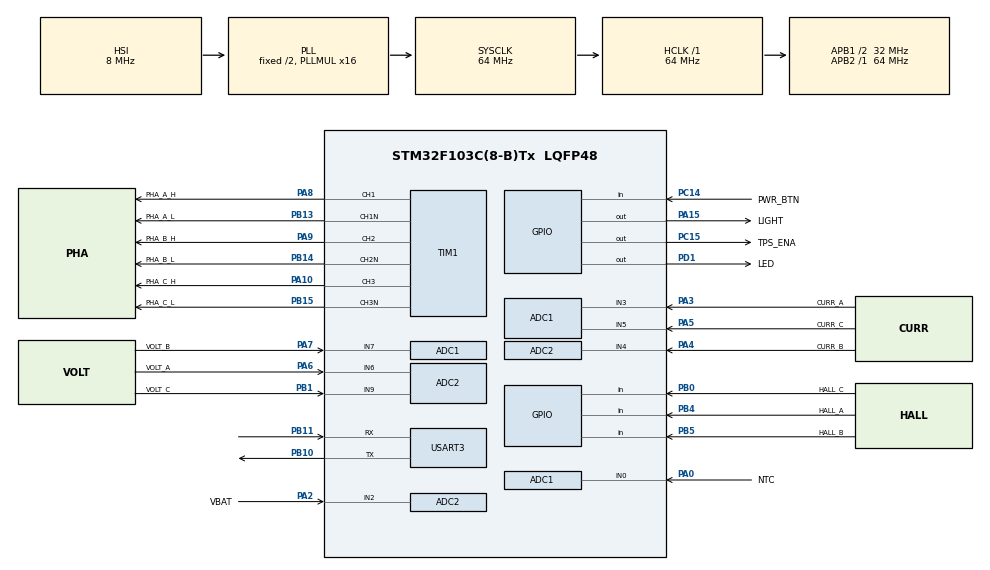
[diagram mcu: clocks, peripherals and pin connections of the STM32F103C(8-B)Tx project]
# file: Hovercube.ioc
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ADC1.Channel-10\#ChannelRegularConversion=ADC_CHANNEL_3
ADC1.Channel-11\#ChannelRegularConversion=ADC_CHANNEL_5
ADC1.Channel-12\#ChannelRegularConversion=ADC_CHANNEL_7
ADC1.Channel-13\#ChannelRegularConversion=ADC_CHANNEL_0
ADC1.ContinuousConvMode=DISABLE
ADC1.DiscontinuousConvMode=DISABLE
ADC1.EnableAnalogWatchDog=false
ADC1.EnableInjectedConversion=DISABLE
ADC1.EnableRegularConversion=ENABLE
ADC1.ExternalTrigConv=ADC_EXTERNALTRIGCONV_T3_TRGO
ADC1.ExternalTrigInjecConv=ADC_EXTERNALTRIGINJECCONV_T1_TRGO
ADC1.InjNumberOfConversion=4
ADC1.InjectedConvMode=Discontinuous
ADC1.Mode=ADC_DUALMODE_REGSIMULT
ADC1.NbrOfConversion=4
ADC1.NbrOfConversionFlag=1
ADC1.Rank-10\#ChannelRegularConversion=1
ADC1.Rank-11\#ChannelRegularConversion=2
ADC1.Rank-12\#ChannelRegularConversion=3
ADC1.Rank-13\#ChannelRegularConversion=4
ADC1.SamplingTime-10\#ChannelRegularConversion=ADC_SAMPLETIME_1CYCLE_5
ADC1.SamplingTime-11\#ChannelRegularConversion=ADC_SAMPLETIME_1CYCLE_5
ADC1.SamplingTime-12\#ChannelRegularConversion=ADC_SAMPLETIME_1CYCLE_5
ADC1.SamplingTime-13\#ChannelRegularConversion=ADC_SAMPLETIME_1CYCLE_5
ADC1.master=1
ADC2.Channel-6\#ChannelRegularConversion=ADC_CHANNEL_4
ADC2.Channel-7\#ChannelRegularConversion=ADC_CHANNEL_6
ADC2.Channel-8\#ChannelRegularConversion=ADC_CHANNEL_9
ADC2.Channel-9\#ChannelRegularConversion=ADC_CHANNEL_2
ADC2.EnableAnalogWatchDog=false
ADC2.EnableInjectedConversion=DISABLE
ADC2.EnableRegularConversion=ENABLE
ADC2.InjNumberOfConversion=4
ADC2.InjectedConvMode=Discontinuous
ADC2.Mode=ADC_DUALMODE_REGSIMULT
ADC2.NbrOfConversion=4
ADC2.NbrOfConversionFlag=1
ADC2.Rank-6\#ChannelRegularConversion=1
ADC2.Rank-7\#ChannelRegularConversion=2
ADC2.Rank-8\#ChannelRegularConversion=3
ADC2.Rank-9\#ChannelRegularConversion=4
ADC2.SamplingTime-6\#ChannelRegularConversion=ADC_SAMPLETIME_1CYCLE_5
ADC2.SamplingTime-7\#ChannelRegularConversion=ADC_SAMPLETIME_1CYCLE_5
ADC2.SamplingTime-8\#ChannelRegularConversion=ADC_SAMPLETIME_1CYCLE_5
ADC2.SamplingTime-9\#ChannelRegularConversion=ADC_SAMPLETIME_1CYCLE_5
Dma.ADC1.2.Direction=DMA_PERIPH_TO_MEMORY
Dma.ADC1.2.Instance=DMA1_Channel1
Dma.ADC1.2.MemDataAlignment=DMA_MDATAALIGN_HALFWORD
Dma.ADC1.2.MemInc=DMA_MINC_ENABLE
Dma.ADC1.2.Mode=DMA_NORMAL
Dma.ADC1.2.PeriphDataAlignment=DMA_PDATAALIGN_HALFWORD
Dma.ADC1.2.PeriphInc=DMA_PINC_DISABLE
Dma.ADC1.2.Priority=DMA_PRIORITY_LOW
Dma.Request0=USART3_RX
Dma.Request1=USART3_TX
Dma.Request2=ADC1
Dma.USART3_RX.0.Direction=DMA_PERIPH_TO_MEMORY
Dma.USART3_RX.0.Instance=DMA1_Channel3
Dma.USART3_RX.0.MemDataAlignment=DMA_MDATAALIGN_BYTE
Dma.USART3_RX.0.MemInc=DMA_MINC_ENABLE
Dma.USART3_RX.0.Mode=DMA_CIRCULAR
Dma.USART3_RX.0.PeriphDataAlignment=DMA_PDATAALIGN_BYTE
Dma.USART3_RX.0.PeriphInc=DMA_PINC_DISABLE
Dma.USART3_RX.0.Priority=DMA_PRIORITY_LOW
Dma.USART3_TX.1.Direction=DMA_MEMORY_TO_PERIPH
Dma.USART3_TX.1.Instance=DMA1_Channel2
Dma.USART3_TX.1.MemDataAlignment=DMA_MDATAALIGN_BYTE
Dma.USART3_TX.1.MemInc=DMA_MINC_ENABLE
Dma.USART3_TX.1.Mode=DMA_NORMAL
Dma.USART3_TX.1.PeriphDataAlignment=DMA_PDATAALIGN_BYTE
Dma.USART3_TX.1.PeriphInc=DMA_PINC_DISABLE
Dma.USART3_TX.1.Priority=DMA_PRIORITY_LOW
FREERTOS.INCLUDE_uxTaskPriorityGet=0
FREERTOS.INCLUDE_vTaskDelete=0
FREERTOS.INCLUDE_vTaskPrioritySet=0
FREERTOS.INCLUDE_vTaskSuspend=0
FREERTOS.Tasks01=defaultTask,24,128,StartDefaultTask,Default,NULL,Dynamic,NULL,NULL
FREERTOS.configTOTAL_HEAP_SIZE=12000
FREERTOS.configUSE_TRACE_FACILITY=0
Mcu.Family=STM32F1
Mcu.Name=STM32F103C(8-B)Tx
Mcu.Package=LQFP48
NVIC.ADC1_2_IRQn=true\:5\:0\:false\:false\:true\:true\:true\:true
NVIC.DMA1_Channel1_IRQn=true\:5\:0\:false\:false\:false\:true\:false\:false
NVIC.DMA1_Channel2_IRQn=true\:5\:0\:false\:false\:true\:true\:false\:true
NVIC.DMA1_Channel3_IRQn=true\:5\:0\:false\:false\:true\:true\:false\:true
NVIC.PriorityGroup=NVIC_PRIORITYGROUP_4
NVIC.TIM4_IRQn=true\:0\:0\:false\:false\:true\:false\:false\:true
NVIC.TimeBase=TIM4_IRQn
NVIC.TimeBaseIP=TIM4
NVIC.USART3_IRQn=true\:5\:0\:false\:false\:true\:true\:true\:true
PA0-WKUP.GPIO_Label=NTC
PA0-WKUP.Signal=ADCx_IN0
PA10.GPIO_Label=PHA_C_H
PA10.Signal=S_TIM1_CH3
PA13.Mode=Serial_Wire
PA13.Signal=SYS_JTMS-SWDIO
PA14.Mode=Serial_Wire
PA14.Signal=SYS_JTCK-SWCLK
PA15.GPIO_Label=LIGHT
PA15.Signal=GPIO_Output
PA2.GPIO_Label=VBAT
PA2.Signal=ADCx_IN2
PA3.GPIO_Label=CURR_A
PA3.Signal=ADCx_IN3
PA4.GPIO_Label=CURR_B
PA4.Signal=ADCx_IN4
PA5.GPIO_Label=CURR_C
PA5.Signal=ADCx_IN5
PA6.GPIO_Label=VOLT_A
PA6.Signal=ADCx_IN6
PA7.GPIO_Label=VOLT_B
PA7.Signal=ADCx_IN7
PA8.GPIO_Label=PHA_A_H
PA8.Signal=S_TIM1_CH1
PA9.GPIO_Label=PHA_B_H
PA9.Signal=S_TIM1_CH2
PB0.GPIO_Label=HALL_C
PB0.Signal=GPIO_Input
PB1.GPIO_Label=VOLT_C
PB1.Signal=ADCx_IN9
PB10.Mode=Asynchronous
PB10.Signal=USART3_TX
PB11.Mode=Asynchronous
PB11.Signal=USART3_RX
PB13.GPIO_Label=PHA_A_L
PB13.Mode=PWM Generation1 CH1 CH1N
PB13.Signal=TIM1_CH1N
PB14.GPIO_Label=PHA_B_L
PB14.Mode=PWM Generation2 CH2 CH2N
PB14.Signal=TIM1_CH2N
PB15.GPIO_Label=PHA_C_L
PB15.Mode=PWM Generation3 CH3 CH3N
PB15.Signal=TIM1_CH3N
PB4.GPIO_Label=HALL_A
PB4.Signal=GPIO_Input
PB5.GPIO_Label=HALL_B
PB5.Signal=GPIO_Input
PB6.Signal=USART1_TX
PC14-OSC32_IN.GPIO_Label=PWR_BTN
PC14-OSC32_IN.Signal=GPIO_Input
PC15-OSC32_OUT.GPIO_Label=TPS_ENA
PC15-OSC32_OUT.PinState=GPIO_PIN_SET
PC15-OSC32_OUT.Signal=GPIO_Output
PD1-OSC_OUT.GPIO_Label=LED
PD1-OSC_OUT.Signal=GPIO_Output
ProjectManager.HeapSize=0x200
ProjectManager.StackSize=0x400
ProjectManager.TargetToolchain=STM32CubeIDE
RCC.ADCPresc=RCC_ADCPCLK2_DIV6
RCC.AHBFreq_Value=64000000
RCC.APB1CLKDivider=RCC_HCLK_DIV2
RCC.APB1Freq_Value=32000000
RCC.APB1TimFreq_Value=64000000
RCC.APB2Freq_Value=64000000
RCC.APB2TimFreq_Value=64000000
RCC.HCLKFreq_Value=64000000
RCC.PLLMUL=RCC_PLL_MUL16
RCC.SYSCLKFreq_VALUE=64000000
RCC.SYSCLKSource=RCC_SYSCLKSOURCE_PLLCLK
RCC.USBFreq_Value=64000000
SH.ADCx_IN0.0=ADC1_IN0,IN0
SH.ADCx_IN2.0=ADC1_IN2
SH.ADCx_IN2.1=ADC2_IN2,IN2
SH.ADCx_IN3.0=ADC1_IN3,IN3
SH.ADCx_IN3.1=ADC2_IN3
SH.ADCx_IN4.0=ADC1_IN4
SH.ADCx_IN4.1=ADC2_IN4,IN4
SH.ADCx_IN5.0=ADC1_IN5,IN5
SH.ADCx_IN6.0=ADC2_IN6,IN6
SH.ADCx_IN7.0=ADC2_IN7
SH.ADCx_IN7.1=ADC1_IN7,IN7
SH.ADCx_IN9.0=ADC2_IN9,IN9
SH.S_TIM1_CH1.0=TIM1_CH1,PWM Generation1 CH1 CH1N
SH.S_TIM1_CH2.0=TIM1_CH2,PWM Generation2 CH2 CH2N
SH.S_TIM1_CH3.0=TIM1_CH3,PWM Generation3 CH3 CH3N
TIM1.Channel-PWM\ Generation1\ CH1\ CH1N=TIM_CHANNEL_1
TIM1.Channel-PWM\ Generation2\ CH2\ CH2N=TIM_CHANNEL_2
TIM1.Channel-PWM\ Generation3\ CH3\ CH3N=TIM_CHANNEL_3
TIM1.CounterMode=TIM_COUNTERMODE_CENTERALIGNED1
TIM1.DeadTime=DEAD_TIME
TIM1.OCIdleState_1=TIM_OCIDLESTATE_SET
TIM1.OCIdleState_2=TIM_OCIDLESTATE_SET
TIM1.OCIdleState_3=TIM_OCIDLESTATE_SET
TIM1.OCNIdleState_1=TIM_OCNIDLESTATE_SET
TIM1.OCNIdleState_2=TIM_OCNIDLESTATE_SET
TIM1.OCNIdleState_3=TIM_OCNIDLESTATE_SET
TIM1.OCNPolarity_1=TIM_OCNPOLARITY_HIGH
TIM1.OCNPolarity_2=TIM_OCNPOLARITY_HIGH
TIM1.OCNPolarity_3=TIM_OCNPOLARITY_HIGH
TIM1.OffStateIDLEMode=TIM_OSSI_ENABLE
TIM1.OffStateRunMode=TIM_OSSR_ENABLE
TIM1.Period=64000000 / 2 / PWM_FREQ
TIM1.TIM_MasterOutputTrigger=TIM_TRGO_ENABLE
TIM1.TIM_MasterSlaveMode=TIM_MASTERSLAVEMODE_DISABLE
TIM3.Period=64000000 / 2 / PWM_FREQ
TIM3.TIM_MasterOutputTrigger=TIM_TRGO_UPDATE
TIM3.TIM_MasterSlaveMode=TIM_MASTERSLAVEMODE_ENABLE
USART3.VirtualMode=VM_ASYNC
VP_FREERTOS_VS_CMSIS_V2.Mode=CMSIS_V2
VP_SYS_VS_tim4.Mode=TIM4
VP_TIM1_VS_ClockSourceINT.Mode=Internal
VP_TIM3_VS_ClockSourceINT.Mode=Internal
VP_TIM3_VS_ClockSourceITR.Mode=TriggerSource_ITR0
VP_TIM3_VS_ControllerModeGated.Mode=Gated Mode
board=custom

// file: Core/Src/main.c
/* USER CODE BEGIN Header */
/**
  ******************************************************************************
  * @file           : main.c
  * @brief          : Main program body
  ******************************************************************************
  * @attention
  *
  * <h2><center>&copy; Copyright (c) 2020 STMicroelectronics.
  * All rights reserved.</center></h2>
  *
  * This software component is licensed by ST under BSD 3-Clause license,
  * the "License"; You may not use this file except in compliance with the
  * License. You may obtain a copy of the License at:
  *                        opensource.org/licenses/BSD-3-Clause
  *
  ******************************************************************************
  */
/* USER CODE END Header */

#include "main.h"
#include "cmsis_os.h"

/* USER CODE BEGIN Includes */
#include "tasks/tsk_cli.h"
#include "tasks/tsk_uart.h"
#include "defines.h"
#include "config.h"
#include "cli_common.h"
#include "util.h"
#include "BLDC_controller.h"
#include "rtwtypes.h"
#include "config.h"

/* USER CODE END Includes */

/* USER CODE BEGIN PM */

volatile adc_buf_t adc_buffer;

/* USER CODE END PM */

ADC_HandleTypeDef hadc1;
ADC_HandleTypeDef hadc2;
DMA_HandleTypeDef hdma_adc1;

TIM_HandleTypeDef htim1;
TIM_HandleTypeDef htim3;

UART_HandleTypeDef huart3;
DMA_HandleTypeDef hdma_usart3_rx;
DMA_HandleTypeDef hdma_usart3_tx;

/* Definitions for defaultTask */
osThreadId_t defaultTaskHandle;
const osThreadAttr_t defaultTask_attributes = {
  .name = "defaultTask",
  .priority = (osPriority_t) osPriorityNormal,
  .stack_size = 128 * 4
};

void SystemClock_Config(void);
static void MX_GPIO_Init(void);
static void MX_DMA_Init(void);
static void MX_ADC1_Init(void);
static void MX_ADC2_Init(void);
static void MX_TIM1_Init(void);
static void MX_USART3_UART_Init(void);
static void MX_TIM3_Init(void);
void StartDefaultTask(void *argument);

int main(void)
{

  /* MCU Configuration--------------------------------------------------------*/

  /* Reset of all peripherals, Initializes the Flash interface and the Systick. */
  HAL_Init();

  /* Configure the system clock */
  SystemClock_Config();

  /* Initialize all configured peripherals */
  MX_GPIO_Init();
  MX_DMA_Init();
  MX_ADC1_Init();
  MX_ADC2_Init();
  MX_TIM1_Init();
  MX_USART3_UART_Init();
  MX_TIM3_Init();
  /* USER CODE BEGIN 2 */

  DBGMCU->CR |= DBGMCU_CR_DBG_TIM1_STOP;

  /* USER CODE END 2 */

  /* Init scheduler */
  osKernelInitialize();

  /* USER CODE BEGIN RTOS_MUTEX */
  /* add mutexes, ... */
  HAL_GPIO_WritePin(TPS_ENA_GPIO_Port, TPS_ENA_Pin, pdTRUE);
  /* USER CODE END RTOS_MUTEX */

  /* Create the thread(s) */
  /* creation of defaultTask */
  defaultTaskHandle = osThreadNew(StartDefaultTask, NULL, &defaultTask_attributes);

  /* USER CODE BEGIN RTOS_THREADS */
  /* add threads, ... */

  HAL_GPIO_WritePin(TPS_ENA_GPIO_Port, TPS_ENA_Pin, pdTRUE);

  tsk_cli_Start(&huart3);

  HAL_ADC_Start(&hadc1);
  HAL_ADC_Start(&hadc2);

  HAL_TIM_PWM_Start(&htim1, TIM_CHANNEL_1);
  HAL_TIM_PWM_Start(&htim1, TIM_CHANNEL_2);
  HAL_TIM_PWM_Start(&htim1, TIM_CHANNEL_3);

  HAL_TIMEx_PWMN_Start(&htim1, TIM_CHANNEL_1);
  HAL_TIMEx_PWMN_Start(&htim1, TIM_CHANNEL_2);
  HAL_TIMEx_PWMN_Start(&htim1, TIM_CHANNEL_3);

  htim1.Instance->RCR = 1;

  __HAL_TIM_ENABLE(&htim1);

  htim3.Instance->RCR = 1;

  __HAL_TIM_ENABLE(&htim3);

  hadc1.Instance->CR2 |= ADC_CR2_DMA | ADC_CR2_TSVREFE;
  __HAL_ADC_ENABLE(&hadc1);

  hadc2.Instance->CR2 |= ADC_CR2_DMA;
  __HAL_ADC_ENABLE(&hadc2);

  __HAL_RCC_DMA1_CLK_ENABLE();

  DMA1_Channel1->CCR   = 0;
  DMA1_Channel1->CNDTR = 4;
  DMA1_Channel1->CPAR  = (uint32_t) & (ADC1->DR);
  DMA1_Channel1->CMAR  = (uint32_t)&adc_buffer;
  DMA1_Channel1->CCR   = DMA_CCR_MSIZE_1 | DMA_CCR_PSIZE_1 | DMA_CCR_MINC | DMA_CCR_CIRC | DMA_CCR_TCIE;
  DMA1_Channel1->CCR |= DMA_CCR_EN;

  HAL_NVIC_SetPriority(DMA1_Channel1_IRQn, 0, 0);
  HAL_NVIC_EnableIRQ(DMA1_Channel1_IRQn);

  /* USER CODE END RTOS_THREADS */

  /* Start scheduler */
  osKernelStart();

  /* We should never get here as control is now taken by the scheduler */
  /* Infinite loop */
  while (1)
  {

  }
}

void SystemClock_Config(void)
{
  RCC_OscInitTypeDef RCC_OscInitStruct = {0};
  RCC_ClkInitTypeDef RCC_ClkInitStruct = {0};
  RCC_PeriphCLKInitTypeDef PeriphClkInit = {0};

  /** Initializes the CPU, AHB and APB busses clocks
  */
  RCC_OscInitStruct.OscillatorType = RCC_OSCILLATORTYPE_HSI;
  RCC_OscInitStruct.HSIState = RCC_HSI_ON;
  RCC_OscInitStruct.HSICalibrationValue = RCC_HSICALIBRATION_DEFAULT;
  RCC_OscInitStruct.PLL.PLLState = RCC_PLL_ON;
  RCC_OscInitStruct.PLL.PLLSource = RCC_PLLSOURCE_HSI_DIV2;
  RCC_OscInitStruct.PLL.PLLMUL = RCC_PLL_MUL16;
  if (HAL_RCC_OscConfig(&RCC_OscInitStruct) != HAL_OK)
  {
    Error_Handler();
  }
  /** Initializes the CPU, AHB and APB busses clocks
  */
  RCC_ClkInitStruct.ClockType = RCC_CLOCKTYPE_HCLK|RCC_CLOCKTYPE_SYSCLK
                              |RCC_CLOCKTYPE_PCLK1|RCC_CLOCKTYPE_PCLK2;
  RCC_ClkInitStruct.SYSCLKSource = RCC_SYSCLKSOURCE_PLLCLK;
  RCC_ClkInitStruct.AHBCLKDivider = RCC_SYSCLK_DIV1;
  RCC_ClkInitStruct.APB1CLKDivider = RCC_HCLK_DIV2;
  RCC_ClkInitStruct.APB2CLKDivider = RCC_HCLK_DIV1;

  if (HAL_RCC_ClockConfig(&RCC_ClkInitStruct, FLASH_LATENCY_2) != HAL_OK)
  {
    Error_Handler();
  }
  PeriphClkInit.PeriphClockSelection = RCC_PERIPHCLK_ADC;
  PeriphClkInit.AdcClockSelection = RCC_ADCPCLK2_DIV6;
  if (HAL_RCCEx_PeriphCLKConfig(&PeriphClkInit) != HAL_OK)
  {
    Error_Handler();
  }
}

static void MX_ADC1_Init(void)
{

  ADC_MultiModeTypeDef multimode = {0};
  ADC_ChannelConfTypeDef sConfig = {0};

  /** Common config
  */
  hadc1.Instance = ADC1;
  hadc1.Init.ScanConvMode = ADC_SCAN_ENABLE;
  hadc1.Init.ContinuousConvMode = DISABLE;
  hadc1.Init.DiscontinuousConvMode = DISABLE;
  hadc1.Init.ExternalTrigConv = ADC_EXTERNALTRIGCONV_T3_TRGO;
  hadc1.Init.DataAlign = ADC_DATAALIGN_RIGHT;
  hadc1.Init.NbrOfConversion = 4;
  if (HAL_ADC_Init(&hadc1) != HAL_OK)
  {
    Error_Handler();
  }
  /** Configure the ADC multi-mode
  */
  multimode.Mode = ADC_DUALMODE_REGSIMULT;
  if (HAL_ADCEx_MultiModeConfigChannel(&hadc1, &multimode) != HAL_OK)
  {
    Error_Handler();
  }
  /** Configure Regular Channel
  */
  sConfig.Channel = ADC_CHANNEL_3;
  sConfig.Rank = ADC_REGULAR_RANK_1;
  sConfig.SamplingTime = ADC_SAMPLETIME_1CYCLE_5;
  if (HAL_ADC_ConfigChannel(&hadc1, &sConfig) != HAL_OK)
  {
    Error_Handler();
  }
  /** Configure Regular Channel
  */
  sConfig.Channel = ADC_CHANNEL_5;
  sConfig.Rank = ADC_REGULAR_RANK_2;
  if (HAL_ADC_ConfigChannel(&hadc1, &sConfig) != HAL_OK)
  {
    Error_Handler();
  }
  /** Configure Regular Channel
  */
  sConfig.Channel = ADC_CHANNEL_7;
  sConfig.Rank = ADC_REGULAR_RANK_3;
  if (HAL_ADC_ConfigChannel(&hadc1, &sConfig) != HAL_OK)
  {
    Error_Handler();
  }
  /** Configure Regular Channel
  */
  sConfig.Channel = ADC_CHANNEL_0;
  sConfig.Rank = ADC_REGULAR_RANK_4;
  if (HAL_ADC_ConfigChannel(&hadc1, &sConfig) != HAL_OK)
  {
    Error_Handler();
  }

}

static void MX_ADC2_Init(void)
{

  ADC_ChannelConfTypeDef sConfig = {0};

  /** Common config
  */
  hadc2.Instance = ADC2;
  hadc2.Init.ScanConvMode = ADC_SCAN_ENABLE;
  hadc2.Init.ContinuousConvMode = DISABLE;
  hadc2.Init.DiscontinuousConvMode = DISABLE;
  hadc2.Init.ExternalTrigConv = ADC_SOFTWARE_START;
  hadc2.Init.DataAlign = ADC_DATAALIGN_RIGHT;
  hadc2.Init.NbrOfConversion = 4;
  if (HAL_ADC_Init(&hadc2) != HAL_OK)
  {
    Error_Handler();
  }
  /** Configure Regular Channel
  */
  sConfig.Channel = ADC_CHANNEL_4;
  sConfig.Rank = ADC_REGULAR_RANK_1;
  sConfig.SamplingTime = ADC_SAMPLETIME_1CYCLE_5;
  if (HAL_ADC_ConfigChannel(&hadc2, &sConfig) != HAL_OK)
  {
    Error_Handler();
  }
  /** Configure Regular Channel
  */
  sConfig.Channel = ADC_CHANNEL_6;
  sConfig.Rank = ADC_REGULAR_RANK_2;
  if (HAL_ADC_ConfigChannel(&hadc2, &sConfig) != HAL_OK)
  {
    Error_Handler();
  }
  /** Configure Regular Channel
  */
  sConfig.Channel = ADC_CHANNEL_9;
  sConfig.Rank = ADC_REGULAR_RANK_3;
  if (HAL_ADC_ConfigChannel(&hadc2, &sConfig) != HAL_OK)
  {
    Error_Handler();
  }
  /** Configure Regular Channel
  */
  sConfig.Channel = ADC_CHANNEL_2;
  sConfig.Rank = ADC_REGULAR_RANK_4;
  if (HAL_ADC_ConfigChannel(&hadc2, &sConfig) != HAL_OK)
  {
    Error_Handler();
  }

}

static void MX_TIM1_Init(void)
{

  TIM_ClockConfigTypeDef sClockSourceConfig = {0};
  TIM_MasterConfigTypeDef sMasterConfig = {0};
  TIM_OC_InitTypeDef sConfigOC = {0};
  TIM_BreakDeadTimeConfigTypeDef sBreakDeadTimeConfig = {0};

  htim1.Instance = TIM1;
  htim1.Init.Prescaler = 0;
  htim1.Init.CounterMode = TIM_COUNTERMODE_CENTERALIGNED1;
  htim1.Init.Period = 64000000 / 2 / PWM_FREQ;
  htim1.Init.ClockDivision = TIM_CLOCKDIVISION_DIV1;
  htim1.Init.RepetitionCounter = 0;
  htim1.Init.AutoReloadPreload = TIM_AUTORELOAD_PRELOAD_DISABLE;
  if (HAL_TIM_Base_Init(&htim1) != HAL_OK)
  {
    Error_Handler();
  }
  sClockSourceConfig.ClockSource = TIM_CLOCKSOURCE_INTERNAL;
  if (HAL_TIM_ConfigClockSource(&htim1, &sClockSourceConfig) != HAL_OK)
  {
    Error_Handler();
  }
  if (HAL_TIM_PWM_Init(&htim1) != HAL_OK)
  {
    Error_Handler();
  }
  sMasterConfig.MasterOutputTrigger = TIM_TRGO_ENABLE;
  sMasterConfig.MasterSlaveMode = TIM_MASTERSLAVEMODE_DISABLE;
  if (HAL_TIMEx_MasterConfigSynchronization(&htim1, &sMasterConfig) != HAL_OK)
  {
    Error_Handler();
  }
  sConfigOC.OCMode = TIM_OCMODE_PWM1;
  sConfigOC.Pulse = 0;
  sConfigOC.OCPolarity = TIM_OCPOLARITY_HIGH;
  sConfigOC.OCNPolarity = TIM_OCNPOLARITY_HIGH;
  sConfigOC.OCFastMode = TIM_OCFAST_DISABLE;
  sConfigOC.OCIdleState = TIM_OCIDLESTATE_SET;
  sConfigOC.OCNIdleState = TIM_OCNIDLESTATE_SET;
  if (HAL_TIM_PWM_ConfigChannel(&htim1, &sConfigOC, TIM_CHANNEL_1) != HAL_OK)
  {
    Error_Handler();
  }
  if (HAL_TIM_PWM_ConfigChannel(&htim1, &sConfigOC, TIM_CHANNEL_2) != HAL_OK)
  {
    Error_Handler();
  }
  if (HAL_TIM_PWM_ConfigChannel(&htim1, &sConfigOC, TIM_CHANNEL_3) != HAL_OK)
  {
    Error_Handler();
  }
  sBreakDeadTimeConfig.OffStateRunMode = TIM_OSSR_ENABLE;
  sBreakDeadTimeConfig.OffStateIDLEMode = TIM_OSSI_ENABLE;
  sBreakDeadTimeConfig.LockLevel = TIM_LOCKLEVEL_OFF;
  sBreakDeadTimeConfig.DeadTime = DEAD_TIME;
  sBreakDeadTimeConfig.BreakState = TIM_BREAK_DISABLE;
  sBreakDeadTimeConfig.BreakPolarity = TIM_BREAKPOLARITY_HIGH;
  sBreakDeadTimeConfig.AutomaticOutput = TIM_AUTOMATICOUTPUT_DISABLE;
  if (HAL_TIMEx_ConfigBreakDeadTime(&htim1, &sBreakDeadTimeConfig) != HAL_OK)
  {
    Error_Handler();
  }
  HAL_TIM_MspPostInit(&htim1);

}

static void MX_TIM3_Init(void)
{

  TIM_ClockConfigTypeDef sClockSourceConfig = {0};
  TIM_SlaveConfigTypeDef sSlaveConfig = {0};
  TIM_MasterConfigTypeDef sMasterConfig = {0};

  htim3.Instance = TIM3;
  htim3.Init.Prescaler = 0;
  htim3.Init.CounterMode = TIM_COUNTERMODE_UP;
  htim3.Init.Period = 64000000 / 2 / PWM_FREQ;
  htim3.Init.ClockDivision = TIM_CLOCKDIVISION_DIV1;
  htim3.Init.AutoReloadPreload = TIM_AUTORELOAD_PRELOAD_DISABLE;
  if (HAL_TIM_Base_Init(&htim3) != HAL_OK)
  {
    Error_Handler();
  }
  sClockSourceConfig.ClockSource = TIM_CLOCKSOURCE_INTERNAL;
  if (HAL_TIM_ConfigClockSource(&htim3, &sClockSourceConfig) != HAL_OK)
  {
    Error_Handler();
  }
  sSlaveConfig.SlaveMode = TIM_SLAVEMODE_GATED;
  sSlaveConfig.InputTrigger = TIM_TS_ITR0;
  if (HAL_TIM_SlaveConfigSynchro(&htim3, &sSlaveConfig) != HAL_OK)
  {
    Error_Handler();
  }
  sMasterConfig.MasterOutputTrigger = TIM_TRGO_UPDATE;
  sMasterConfig.MasterSlaveMode = TIM_MASTERSLAVEMODE_ENABLE;
  if (HAL_TIMEx_MasterConfigSynchronization(&htim3, &sMasterConfig) != HAL_OK)
  {
    Error_Handler();
  }

}

static void MX_USART3_UART_Init(void)
{

  huart3.Instance = USART3;
  huart3.Init.BaudRate = 115200;
  huart3.Init.WordLength = UART_WORDLENGTH_8B;
  huart3.Init.StopBits = UART_STOPBITS_1;
  huart3.Init.Parity = UART_PARITY_NONE;
  huart3.Init.Mode = UART_MODE_TX_RX;
  huart3.Init.HwFlowCtl = UART_HWCONTROL_NONE;
  huart3.Init.OverSampling = UART_OVERSAMPLING_16;
  if (HAL_UART_Init(&huart3) != HAL_OK)
  {
    Error_Handler();
  }

}

static void MX_DMA_Init(void)
{

  /* DMA controller clock enable */
  __HAL_RCC_DMA1_CLK_ENABLE();

  /* DMA interrupt init */
  /* DMA1_Channel1_IRQn interrupt configuration */
  HAL_NVIC_SetPriority(DMA1_Channel1_IRQn, 5, 0);
  HAL_NVIC_EnableIRQ(DMA1_Channel1_IRQn);
  /* DMA1_Channel2_IRQn interrupt configuration */
  HAL_NVIC_SetPriority(DMA1_Channel2_IRQn, 5, 0);
  HAL_NVIC_EnableIRQ(DMA1_Channel2_IRQn);
  /* DMA1_Channel3_IRQn interrupt configuration */
  HAL_NVIC_SetPriority(DMA1_Channel3_IRQn, 5, 0);
  HAL_NVIC_EnableIRQ(DMA1_Channel3_IRQn);

}

static void MX_GPIO_Init(void)
{
  GPIO_InitTypeDef GPIO_InitStruct = {0};

  /* GPIO Ports Clock Enable */
  __HAL_RCC_GPIOC_CLK_ENABLE();
  __HAL_RCC_GPIOD_CLK_ENABLE();
  __HAL_RCC_GPIOA_CLK_ENABLE();
  __HAL_RCC_GPIOB_CLK_ENABLE();

  /*Configure GPIO pin Output Level */
  HAL_GPIO_WritePin(TPS_ENA_GPIO_Port, TPS_ENA_Pin, GPIO_PIN_SET);

  /*Configure GPIO pin Output Level */
  HAL_GPIO_WritePin(LED_GPIO_Port, LED_Pin, GPIO_PIN_RESET);

  /*Configure GPIO pin Output Level */
  HAL_GPIO_WritePin(LIGHT_GPIO_Port, LIGHT_Pin, GPIO_PIN_RESET);

  /*Configure GPIO pin : PWR_BTN_Pin */
  GPIO_InitStruct.Pin = PWR_BTN_Pin;
  GPIO_InitStruct.Mode = GPIO_MODE_INPUT;
  GPIO_InitStruct.Pull = GPIO_NOPULL;
  HAL_GPIO_Init(PWR_BTN_GPIO_Port, &GPIO_InitStruct);

  /*Configure GPIO pin : TPS_ENA_Pin */
  GPIO_InitStruct.Pin = TPS_ENA_Pin;
  GPIO_InitStruct.Mode = GPIO_MODE_OUTPUT_PP;
  GPIO_InitStruct.Pull = GPIO_NOPULL;
  GPIO_InitStruct.Speed = GPIO_SPEED_FREQ_LOW;
  HAL_GPIO_Init(TPS_ENA_GPIO_Port, &GPIO_InitStruct);

  /*Configure GPIO pin : LED_Pin */
  GPIO_InitStruct.Pin = LED_Pin;
  GPIO_InitStruct.Mode = GPIO_MODE_OUTPUT_PP;
  GPIO_InitStruct.Pull = GPIO_NOPULL;
  GPIO_InitStruct.Speed = GPIO_SPEED_FREQ_LOW;
  HAL_GPIO_Init(LED_GPIO_Port, &GPIO_InitStruct);

  /*Configure GPIO pins : HALL_C_Pin HALL_A_Pin HALL_B_Pin */
  GPIO_InitStruct.Pin = HALL_C_Pin|HALL_A_Pin|HALL_B_Pin;
  GPIO_InitStruct.Mode = GPIO_MODE_INPUT;
  GPIO_InitStruct.Pull = GPIO_NOPULL;
  HAL_GPIO_Init(GPIOB, &GPIO_InitStruct);

  /*Configure GPIO pin : LIGHT_Pin */
  GPIO_InitStruct.Pin = LIGHT_Pin;
  GPIO_InitStruct.Mode = GPIO_MODE_OUTPUT_PP;
  GPIO_InitStruct.Pull = GPIO_NOPULL;
  GPIO_InitStruct.Speed = GPIO_SPEED_FREQ_LOW;
  HAL_GPIO_Init(LIGHT_GPIO_Port, &GPIO_InitStruct);

  /*Configure GPIO pin : PB6 */
  GPIO_InitStruct.Pin = GPIO_PIN_6;
  GPIO_InitStruct.Mode = GPIO_MODE_AF_PP;
  GPIO_InitStruct.Speed = GPIO_SPEED_FREQ_HIGH;
  HAL_GPIO_Init(GPIOB, &GPIO_InitStruct);

  /*Configure peripheral I/O remapping */
  __HAL_AFIO_REMAP_PD01_ENABLE();

  /*Configure peripheral I/O remapping */
  __HAL_AFIO_REMAP_USART1_ENABLE();

}

uint8_t led_pattern=LED_OK;
extern ExtY     rtY_Left;

void StartDefaultTask(void *argument)
{
  /* USER CODE BEGIN 5 */
  /* Infinite loop */
	for(;;)
	{
		if(rtY_Left.z_errCode) led_pattern = LED_MOTOR_ERROR;
		for(uint8_t i=0;i<led_pattern;i++){
			HAL_GPIO_WritePin(LED_GPIO_Port, LED_Pin, pdFALSE);
			vTaskDelay(200 / portTICK_PERIOD_MS);
			HAL_GPIO_WritePin(LED_GPIO_Port, LED_Pin, pdTRUE);
		}
		vTaskDelay(1000 / portTICK_PERIOD_MS);
	}

  /* USER CODE END 5 */
}

 /**
  * @brief  Period elapsed callback in non blocking mode
  * @note   This function is called  when TIM4 interrupt took place, inside
  * HAL_TIM_IRQHandler(). It makes a direct call to HAL_IncTick() to increment
  * a global variable "uwTick" used as application time base.
  * @param  htim : TIM handle
  * @retval None
  */
void HAL_TIM_PeriodElapsedCallback(TIM_HandleTypeDef *htim)
{
  if (htim->Instance == TIM4) {
    HAL_IncTick();
  }
}

void Error_Handler(void)
{
}

/************************ (C) COPYRIGHT STMicroelectronics *****END OF FILE****/
